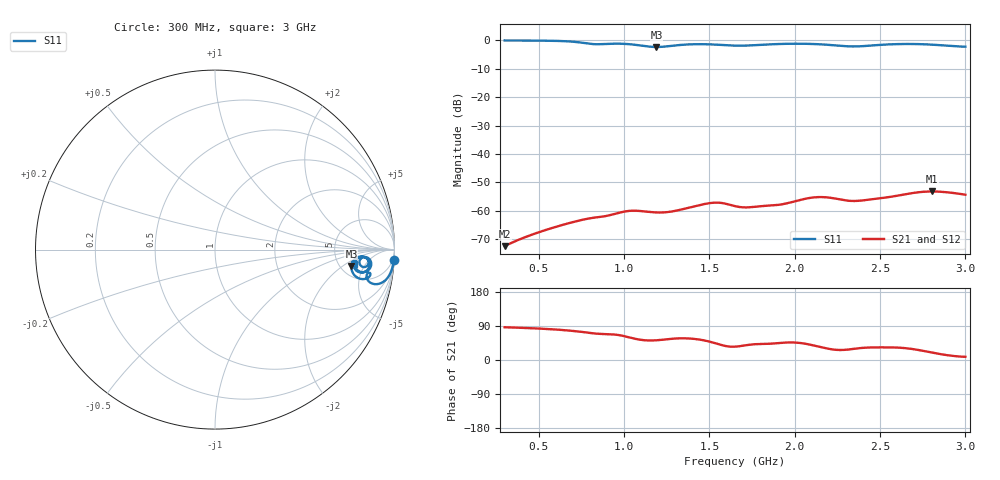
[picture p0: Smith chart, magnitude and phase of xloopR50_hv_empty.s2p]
! xloopR50_hv_empty, gap C 0.80 pF
! simulated by sim/fixtures_fdtd.py (S12 = S21, S22 not computed)
# HZ S RI R 50
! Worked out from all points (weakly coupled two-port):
!   541 points, 300 MHz to 3 GHz, reference 50 ohm
!   highest |S21| = -53.16 dB at 2.805 GHz (marker M1); lowest = -72.4 dB at 300 MHz (marker M2)
!   lowest |S11| = -2.3 dB at 1.19 GHz (marker M3), VSWR 7.54, Z = 314 - j139 ohm
!   |S11| at or under -10 dB: nowhere
!   |S22| runs from - to - dB; largest |S21 - S12| = 0
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3e8  0.9964 -0.0594  1.51e-05 0.000239  1.51e-05 0.000239  0 0
6e8  0.9704 -0.1443  8.68e-05 0.000517  8.68e-05 0.000517  0 0
7.5e8  0.8928 -0.1926  0.000187 0.000665  0.000187 0.000665  0 0
8.15e8  0.847 -0.1632  0.00025 0.000711  0.00025 0.000711  0 0
8.85e8  0.8553 -0.1291  0.000293 0.000748  0.000293 0.000748  0 0
1.025e9  0.8454 -0.1605  0.000494 0.000866  0.000494 0.000866  0 0
1.105e9  0.7926 -0.1556  0.000597 0.000789  0.000597 0.000789  0 0
1.19e9  0.7603 -0.0915  0.000578 0.00074  0.000578 0.00074  0 0
1.2e9  0.7618 -0.0827  0.000572 0.000742  0.000572 0.000742  0 0
1.31e9  0.8205 -0.0382  0.000555 0.000852  0.000555 0.000852  0 0
1.41e9  0.8542 -0.0628  0.000676 0.000991  0.000676 0.000991  0 0
1.52e9  0.8428 -0.0943  0.000963 0.001  0.000963 0.001  0 0
1.65e9  0.8059 -0.0788  0.000992 0.0007  0.000992 0.0007  0 0
1.72e9  0.8102 -0.0537  0.000891 0.000731  0.000891 0.000731  0 0
1.895e9  0.8604 -0.0528  0.000908 0.000884  0.000908 0.000884  0 0
2.1e9  0.8593 -0.1096  0.00132 0.00109  0.00132 0.00109  0 0
2.225e9  0.8138 -0.1247  0.00148 0.000778  0.00148 0.000778  0 0
2.335e9  0.7791 -0.0836  0.00131 0.00072  0.00131 0.00072  0 0
2.44e9  0.8078 -0.0422  0.00133 0.000864  0.00133 0.000864  0 0
2.55e9  0.8488 -0.052  0.00146 0.00096  0.00146 0.00096  0 0
2.805e9  0.8324 -0.1246  0.00207 0.000734  0.00207 0.000734  0 0
3e9  0.7729 -0.0822  0.00191 0.00028  0.00191 0.00028  0 0
